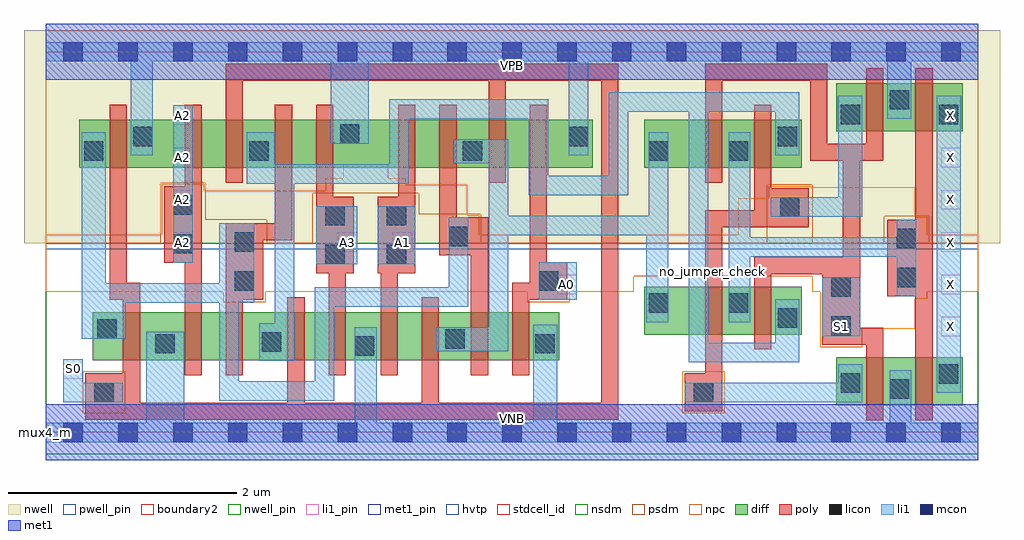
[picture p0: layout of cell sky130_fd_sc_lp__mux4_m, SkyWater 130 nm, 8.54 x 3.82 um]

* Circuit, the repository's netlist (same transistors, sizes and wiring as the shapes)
* Copyright 2020 The SkyWater PDK Authors
*
* Licensed under the Apache License, Version 2.0 (the "License");
* you may not use this file except in compliance with the License.
* You may obtain a copy of the License at
*
*     https://www.apache.org/licenses/LICENSE-2.0
*
* Unless required by applicable law or agreed to in writing, software
* distributed under the License is distributed on an "AS IS" BASIS,
* WITHOUT WARRANTIES OR CONDITIONS OF ANY KIND, either express or implied.
* See the License for the specific language governing permissions and
* limitations under the License.
*
* SPDX-License-Identifier: Apache-2.0

.SUBCKT sky130_fd_sc_lp__mux4_m A0 A1 A2 A3 S0 S1 VGND VNB VPB VPWR X
*.PININFO A0:I A1:I A2:I A3:I S0:I S1:I VGND:I VNB:I VPB:I VPWR:I X:O
MMNA00 sndNS0ba0 S0b xlowb VNB sky130_fd_pr__nfet_01v8 m=1 w=0.42U l=0.15U mult=1
+ sa=0.265 sb=0.265 sd=0.28 area=0.028 perim=0.76
MMNA01 VGND A0 sndNS0ba0 VNB sky130_fd_pr__nfet_01v8 m=1 w=0.42U l=0.15U mult=1
+ sa=0.265 sb=0.265 sd=0.28 area=0.028 perim=0.76
MMNA10 sndNS0a1 S0 xlowb VNB sky130_fd_pr__nfet_01v8 m=1 w=0.42U l=0.15U mult=1
+ sa=0.265 sb=0.265 sd=0.28 area=0.028 perim=0.76
MMNA11 VGND A1 sndNS0a1 VNB sky130_fd_pr__nfet_01v8 m=1 w=0.42U l=0.15U mult=1
+ sa=0.265 sb=0.265 sd=0.28 area=0.028 perim=0.76
MMNA20 sndNS0ba2 S0b xhib VNB sky130_fd_pr__nfet_01v8 m=1 w=0.42U l=0.15U mult=1
+ sa=0.265 sb=0.265 sd=0.28 area=0.028 perim=0.76
MMNA21 VGND A2 sndNS0ba2 VNB sky130_fd_pr__nfet_01v8 m=1 w=0.42U l=0.15U mult=1
+ sa=0.265 sb=0.265 sd=0.28 area=0.028 perim=0.76
MMNA30 sndNS0a3 S0 xhib VNB sky130_fd_pr__nfet_01v8 m=1 w=0.42U l=0.15U mult=1
+ sa=0.265 sb=0.265 sd=0.28 area=0.028 perim=0.76
MMNA31 VGND A3 sndNS0a3 VNB sky130_fd_pr__nfet_01v8 m=1 w=0.42U l=0.15U mult=1
+ sa=0.265 sb=0.265 sd=0.28 area=0.028 perim=0.76
MMNs1o xb S1b xlowb VNB sky130_fd_pr__nfet_01v8 m=1 w=0.42U l=0.15U mult=1 sa=0.265
+ sb=0.265 sd=0.28 area=0.028 perim=0.76
MMNs2o xb S1 xhib VNB sky130_fd_pr__nfet_01v8 m=1 w=0.42U l=0.15U mult=1 sa=0.265
+ sb=0.265 sd=0.28 area=0.028 perim=0.76
MMIN1 VGND S1 S1b VNB sky130_fd_pr__nfet_01v8 m=1 w=0.42U l=0.15U mult=1 sa=0.265
+ sb=0.265 sd=0.28 area=0.028 perim=0.76
MMIN2 VGND S0 S0b VNB sky130_fd_pr__nfet_01v8 m=1 w=0.42U l=0.15U mult=1 sa=0.265
+ sb=0.265 sd=0.28 area=0.028 perim=0.76
MMIN4 VGND xb X VNB sky130_fd_pr__nfet_01v8 m=1 w=0.42U l=0.15U mult=1 sa=0.265
+ sb=0.265 sd=0.28 area=0.028 perim=0.76
MMPA00 sndPA0a0 A0 VPWR VPB sky130_fd_pr__pfet_01v8_hvt m=1 w=0.42U l=0.15U mult=1
+ sa=0.265 sb=0.265 sd=0.28 area=0.028 perim=0.76
MMPA01 xlowb S0 sndPA0a0 VPB sky130_fd_pr__pfet_01v8_hvt m=1 w=0.42U l=0.15U mult=1
+ sa=0.265 sb=0.265 sd=0.28 area=0.028 perim=0.76
MMPA10 sndPA1a1 A1 VPWR VPB sky130_fd_pr__pfet_01v8_hvt m=1 w=0.42U l=0.15U mult=1
+ sa=0.265 sb=0.265 sd=0.28 area=0.028 perim=0.76
MMPA11 xlowb S0b sndPA1a1 VPB sky130_fd_pr__pfet_01v8_hvt m=1 w=0.42U l=0.15U mult=1
+ sa=0.265 sb=0.265 sd=0.28 area=0.028 perim=0.76
MMPA20 sndPA2a2 A2 VPWR VPB sky130_fd_pr__pfet_01v8_hvt m=1 w=0.42U l=0.15U mult=1
+ sa=0.265 sb=0.265 sd=0.28 area=0.028 perim=0.76
MMPA21 xhib S0 sndPA2a2 VPB sky130_fd_pr__pfet_01v8_hvt m=1 w=0.42U l=0.15U mult=1
+ sa=0.265 sb=0.265 sd=0.28 area=0.028 perim=0.76
MMPA30 sndPA3a3 A3 VPWR VPB sky130_fd_pr__pfet_01v8_hvt m=1 w=0.42U l=0.15U mult=1
+ sa=0.265 sb=0.265 sd=0.28 area=0.028 perim=0.76
MMPA31 xhib S0b sndPA3a3 VPB sky130_fd_pr__pfet_01v8_hvt m=1 w=0.42U l=0.15U mult=1
+ sa=0.265 sb=0.265 sd=0.28 area=0.028 perim=0.76
MMPs1o xb S1 xlowb VPB sky130_fd_pr__pfet_01v8_hvt m=1 w=0.42U l=0.15U mult=1 sa=0.265
+ sb=0.265 sd=0.28 area=0.028 perim=0.76
MMPs2o xb S1b xhib VPB sky130_fd_pr__pfet_01v8_hvt m=1 w=0.42U l=0.15U mult=1 sa=0.265
+ sb=0.265 sd=0.28 area=0.028 perim=0.76
MMIP1 VPWR S1 S1b VPB sky130_fd_pr__pfet_01v8_hvt m=1 w=0.42U l=0.15U mult=1 sa=0.265
+ sb=0.265 sd=0.28 area=0.028 perim=0.76
MMIP2 VPWR S0 S0b VPB sky130_fd_pr__pfet_01v8_hvt m=1 w=0.42U l=0.15U mult=1 sa=0.265
+ sb=0.265 sd=0.28 area=0.028 perim=0.76
MMIP4 VPWR xb X VPB sky130_fd_pr__pfet_01v8_hvt m=1 w=0.42U l=0.15U mult=1 sa=0.265
+ sb=0.265 sd=0.28 area=0.028 perim=0.76
.ENDS sky130_fd_sc_lp__mux4_m

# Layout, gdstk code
import gdstk
lib = gdstk.Library(unit=1e-6, precision=1e-09)
def R(c, l, rs):  # rectangles x0, y0, x1, y1
    for r in rs: c.add(gdstk.rectangle(r[:2], r[2:], *l))
def A(c, l, x, y, w, h, nx, ny, dx, dy):  # array of equal rectangles
    R(c, l, [(x+i*dx, y+j*dy, x+i*dx+w, y+j*dy+h) for i in range(nx) for j in range(ny)])
def P(c, l, *ps):  # polygons
    for p in ps: c.add(gdstk.Polygon(p, *l))
nwell_pin = (64, 16)
nwell = (64, 20)
diff = (65, 20)
poly = (66, 20)
licon = (66, 44)
li1_pin = (67, 16)
li1 = (67, 20)
mcon = (67, 44)
met1_pin = (68, 16)
met1 = (68, 20)
hvtp = (78, 44)
stdcell_id = (81, 4)
nsdm = (93, 44)
psdm = (94, 20)
npc = (95, 20)
pwell_pin = (122, 16)
boundary2 = (236, 0)

sky130_fd_sc_lp__mux4_m = lib.new_cell('sky130_fd_sc_lp__mux4_m')
R(sky130_fd_sc_lp__mux4_m, nwell_pin, [(0,3.085,8.16,3.33)])
R(sky130_fd_sc_lp__mux4_m, nwell, [(-0.19,1.655,8.35,3.52)])
R(sky130_fd_sc_lp__mux4_m, diff, [(6.915,0.235,8.025,0.655), (0.41,0.63,4.495,1.05), (5.235,0.855,6.615,1.275), (0.295,2.315,4.785,2.735), (5.235,2.315,6.615,2.735), (6.915,2.635,8.025,3.055)])
P(sky130_fd_sc_lp__mux4_m, poly, [(1.365,2.865),(1.215,2.865),(1.215,2.155),(1.035,2.155),(1.035,1.485),(1.215,1.485),(1.215,0.5),(1.365,0.5)],
  [(2.155,2.865),(2.005,2.865),(2.005,1.83),(1.575,1.83),(1.575,0.5),(1.725,0.5),(1.725,1.16),(1.905,1.16),(1.905,1.68),(2.155,1.68)],
  [(2.695,2.06),(2.515,2.06),(2.515,2.865),(2.365,2.865),(2.365,1.39),(2.475,1.39),(2.475,0.5),(2.625,0.5),(2.625,1.39),(2.695,1.39)],
  [(3.235,2.865),(3.085,2.865),(3.085,2.06),(2.905,2.06),(2.905,1.39),(2.93,1.39),(2.93,0.5),(3.08,0.5),(3.08,1.39),(3.235,1.39)],
  [(3.87,1.88),(3.595,1.88),(3.595,2.865),(3.445,2.865),(3.445,1.55),(3.72,1.55),(3.72,0.5),(3.87,0.5)],
  [(4.565,1.49),(4.385,1.49),(4.385,2.865),(4.235,2.865),(4.235,1.31),(4.08,1.31),(4.08,0.5),(4.23,0.5),(4.23,1.16),(4.565,1.16)],
  [(5.01,3.225),(1.575,3.225),(1.575,2.185),(1.725,2.185),(1.725,3.075),(3.875,3.075),(3.875,2.185),(4.025,2.185),(4.025,3.075),(4.86,3.075),(4.86,0.26),(3.44,0.26),(3.44,1.18),(3.29,1.18),(3.29,0.26),(2.265,0.26),(2.265,1.18),(2.115,1.18),(2.115,0.26),(0.825,0.26),(0.825,1.31),(0.71,1.31),(0.71,2.865),(0.56,2.865),(0.56,1.16),(0.675,1.16),(0.675,0.515),(0.345,0.515),(0.345,0.11),(5.01,0.11)],
  [(6.675,2.135),(6.35,2.135),(6.35,2.865),(6.2,2.865),(6.2,1.945),(5.77,1.945),(5.77,0.515),(5.59,0.515),(5.59,0.185),(5.92,0.185),(5.92,1.795),(6.675,1.795)],
  [(7.33,0.915),(7.125,0.915),(7.125,2.375),(7.33,2.375),(7.33,3.185),(7.18,3.185),(7.18,2.525),(6.84,2.525),(6.84,3.225),(5.77,3.225),(5.77,2.185),(5.92,2.185),(5.92,3.075),(6.69,3.075),(6.69,2.375),(6.975,2.375),(6.975,1.535),(6.2,1.535),(6.2,0.725),(6.35,0.725),(6.35,1.385),(6.795,1.385),(6.795,0.765),(7.18,0.765),(7.18,0.105),(7.33,0.105)],
  [(7.76,3.185),(7.61,3.185),(7.61,1.86),(7.365,1.86),(7.365,1.19),(7.61,1.19),(7.61,0.105),(7.76,0.105)])
R(sky130_fd_sc_lp__mux4_m, licon, [(0.425,0.265,0.595,0.435), (5.67,0.265,5.84,0.435), (7.385,0.295,7.555,0.465), (6.955,0.345,7.125,0.515), (7.815,0.425,7.985,0.595), (2.705,0.67,2.875,0.84), (0.96,0.69,1.13,0.86), (4.285,0.69,4.455,0.86), (1.89,0.705,2.06,0.875), (3.495,0.73,3.665,0.9), (0.45,0.82,0.62,0.99), (6.875,0.845,7.045,1.015), (6.405,0.915,6.575,1.085), (5.275,1.045,5.445,1.215), (5.975,1.045,6.145,1.215), (6.875,1.185,7.045,1.355), (1.655,1.24,1.825,1.41), (4.315,1.24,4.485,1.41), (7.445,1.27,7.615,1.44), (2.445,1.47,2.615,1.64), (2.985,1.47,3.155,1.64), (1.115,1.565,1.285,1.735), (1.655,1.58,1.825,1.75), (7.445,1.61,7.615,1.78), (3.525,1.63,3.695,1.8), (2.445,1.81,2.615,1.98), (2.985,1.81,3.155,1.98), (6.425,1.885,6.595,2.055), (1.115,1.905,1.285,2.075), (0.335,2.375,0.505,2.545), (1.78,2.375,1.95,2.545), (3.65,2.375,3.82,2.545), (5.275,2.375,5.445,2.545), (5.975,2.375,6.145,2.545), (0.765,2.505,0.935,2.675), (4.575,2.505,4.745,2.675), (6.405,2.505,6.575,2.675), (2.575,2.525,2.745,2.695), (6.955,2.695,7.125,2.865), (7.815,2.695,7.985,2.865), (7.385,2.825,7.555,2.995)])
A(sky130_fd_sc_lp__mux4_m, li1_pin, 7.835, 0.84, 0.17, 0.17, 1, 6, 0, 0.37)
A(sky130_fd_sc_lp__mux4_m, li1_pin, 1.115, 1.58, 0.17, 0.17, 1, 4, 0, 0.37)
R(sky130_fd_sc_lp__mux4_m, li1_pin, [(0.155,0.47,0.325,0.64), (6.875,0.84,7.045,1.01), (4.475,1.21,4.645,1.38), (2.555,1.58,2.725,1.75), (3.035,1.58,3.205,1.75)])
R(sky130_fd_sc_lp__mux4_m, li1, [(7.795,0.345,8.005,2.945), (6.795,0.84,7.125,1.355), (4.315,1.16,4.645,1.49), (2.365,1.47,2.725,1.98), (2.905,1.47,3.235,1.98), (1.115,1.485,1.285,2.86)])
P(sky130_fd_sc_lp__mux4_m, li1, [(2.495,2.525),(2.495,3.245),(0.935,3.245),(0.935,2.425),(0.745,2.425),(0.745,3.245),(0,3.245),(0,3.415),(8.16,3.415),(8.16,3.245),(7.575,3.245),(7.575,2.745),(7.365,2.745),(7.365,3.245),(4.745,3.245),(4.745,2.425),(4.575,2.425),(4.575,3.245),(2.825,3.245),(2.825,2.525)],
  [(2.705,0.085),(2.705,0.92),(2.895,0.92),(2.895,0.085),(4.265,0.085),(4.265,0.94),(4.475,0.94),(4.475,0.085),(7.385,0.085),(7.385,0.545),(7.575,0.545),(7.575,0.085),(8.16,0.085),(8.16,-0.085),(0,-0.085),(0,0.085),(0.88,0.085),(0.88,0.88),(1.21,0.88),(1.21,0.085)],
  [(0.325,0.435),(0.675,0.435),(0.675,0.265),(0.155,0.265),(0.155,0.64),(0.325,0.64)],
  [(2.355,1.27),(3.525,1.27),(3.525,1.88),(3.695,1.88),(3.695,1.1),(2.525,1.1),(2.525,0.275),(1.52,0.275),(1.52,1.135),(0.7,1.135),(0.7,0.82),(0.315,0.82),(0.315,2.625),(0.525,2.625),(0.525,1.305),(1.52,1.305),(1.52,1.83),(1.825,1.83),(1.825,1.135),(1.69,1.135),(1.69,0.445),(2.355,0.445)],
  [(6.935,2.055),(6.935,2.945),(7.145,2.945),(7.145,1.885),(6.345,1.885),(6.345,2.055)],
  [(6.385,2.805),(5.795,2.805),(5.795,0.785),(6.385,0.785),(6.385,1.165),(6.595,1.165),(6.595,0.615),(5.625,0.615),(5.625,2.805),(5.095,2.805),(5.095,2.075),(4.225,2.075),(4.225,2.745),(3.175,2.745),(3.175,2.175),(2.175,2.175),(2.175,0.625),(1.87,0.625),(1.87,0.955),(2.005,0.955),(2.005,2.175),(1.76,2.175),(1.76,2.625),(2.005,2.625),(2.005,2.345),(3.005,2.345),(3.005,2.915),(4.395,2.915),(4.395,2.245),(4.925,2.245),(4.925,2.975),(6.595,2.975),(6.595,2.425),(6.385,2.425)],
  [(5.975,0.965),(5.975,2.625),(6.165,2.625),(6.165,1.705),(7.445,1.705),(7.445,1.86),(7.615,1.86),(7.615,1.19),(7.445,1.19),(7.445,1.535),(6.165,1.535),(6.165,0.965)],
  [(5.275,1.895),(5.275,2.625),(5.445,2.625),(5.445,0.965),(5.255,0.965),(5.255,1.725),(4.045,1.725),(4.045,0.71),(3.415,0.71),(3.415,0.92),(3.875,0.92),(3.875,2.355),(3.57,2.355),(3.57,2.565),(4.045,2.565),(4.045,1.895)],
  [(5.59,0.265),(5.59,0.435),(6.935,0.435),(6.935,0.595),(7.145,0.595),(7.145,0.265)])
A(sky130_fd_sc_lp__mux4_m, mcon, 0.155, -0.085, 0.17, 0.17, 17, 2, 0.48, 3.33)
R(sky130_fd_sc_lp__mux4_m, met1_pin, [(0,0,8.16,0.245), (0,3.085,8.16,3.33)])
R(sky130_fd_sc_lp__mux4_m, met1, [(0,-0.245,8.16,0.245), (0,3.085,8.16,3.575)])
R(sky130_fd_sc_lp__mux4_m, hvtp, [(0,1.6,8.16,3.33)])
R(sky130_fd_sc_lp__mux4_m, stdcell_id, [(0,0,8.16,3.33)])
R(sky130_fd_sc_lp__mux4_m, nsdm, [(0,-0.19,8.16,1.655)])
P(sky130_fd_sc_lp__mux4_m, psdm, [(8.16,3.52),(0,3.52),(0,1.655),(1.005,1.655),(1.005,2.185),(1.395,2.185),(1.395,1.86),(1.935,1.86),(1.935,1.655),(2.335,1.655),(2.335,2.09),(3.265,2.09),(3.265,1.91),(3.805,1.91),(3.805,1.655),(6.315,1.655),(6.315,2.165),(6.705,2.165),(6.705,1.655),(7.335,1.655),(7.335,1.89),(7.725,1.89),(7.725,1.655),(8.16,1.655)])
R(sky130_fd_sc_lp__mux4_m, npc, [(0.325,0.165,0.695,0.535), (5.57,0.165,5.94,0.535)])
P(sky130_fd_sc_lp__mux4_m, npc, [(8.16,1.73),(7.715,1.73),(7.715,1.88),(7.61,1.88),(7.61,2.145),(6.695,2.145),(6.695,2.155),(6.325,2.155),(6.325,2.05),(6.06,2.05),(6.06,1.73),(3.795,1.73),(3.795,1.9),(3.69,1.9),(3.69,2.165),(3.15,2.165),(3.15,2.225),(2.995,2.225),(2.995,2.345),(2.605,2.345),(2.605,2.225),(2.45,2.225),(2.45,2.115),(1.385,2.115),(1.385,2.175),(1.015,2.175),(1.015,1.73),(0,1.73),(0,1.23),(1.555,1.23),(1.555,1.14),(1.925,1.14),(1.925,1.23),(4.215,1.23),(4.215,1.14),(4.585,1.14),(4.585,1.23),(5.145,1.23),(5.145,1.365),(6.705,1.365),(6.705,1.23),(6.775,1.23),(6.775,0.745),(7.145,0.745),(7.145,0.905),(7.61,0.905),(7.61,1.17),(7.715,1.17),(7.715,1.23),(8.16,1.23)])
R(sky130_fd_sc_lp__mux4_m, pwell_pin, [(0,0,8.16,0.245)])
R(sky130_fd_sc_lp__mux4_m, boundary2, [(0,0,8.16,3.33)])
sky130_fd_sc_lp__mux4_m.add(gdstk.Label('VNB', (4.08,0.123), layer=64, texttype=59))
sky130_fd_sc_lp__mux4_m.add(gdstk.Label('VPB', (4.08,3.208), layer=64, texttype=5))
sky130_fd_sc_lp__mux4_m.add(gdstk.Label('mux4_m', (0,0), layer=83, texttype=44))
sky130_fd_sc_lp__mux4_m.add(gdstk.Label('no_jumper_check', (5.835,1.405), layer=83, texttype=44))
sky130_fd_sc_lp__mux4_m.add(gdstk.Label('VPWR', (4.08,3.208), layer=68, texttype=5))
sky130_fd_sc_lp__mux4_m.add(gdstk.Label('VGND', (4.08,0.123), layer=68, texttype=5))
sky130_fd_sc_lp__mux4_m.add(gdstk.Label('A0', (4.56,1.295), layer=67, texttype=5))
sky130_fd_sc_lp__mux4_m.add(gdstk.Label('S0', (0.24,0.555), layer=67, texttype=5))
sky130_fd_sc_lp__mux4_m.add(gdstk.Label('A1', (3.12,1.665), layer=67, texttype=5))
sky130_fd_sc_lp__mux4_m.add(gdstk.Label('A2', (1.2,1.665), layer=67, texttype=5))
sky130_fd_sc_lp__mux4_m.add(gdstk.Label('A2', (1.2,2.035), layer=67, texttype=5))
sky130_fd_sc_lp__mux4_m.add(gdstk.Label('A2', (1.2,2.405), layer=67, texttype=5))
sky130_fd_sc_lp__mux4_m.add(gdstk.Label('A2', (1.2,2.775), layer=67, texttype=5))
sky130_fd_sc_lp__mux4_m.add(gdstk.Label('A3', (2.64,1.665), layer=67, texttype=5))
sky130_fd_sc_lp__mux4_m.add(gdstk.Label('S1', (6.96,0.925), layer=67, texttype=5))
sky130_fd_sc_lp__mux4_m.add(gdstk.Label('X', (7.92,0.925), layer=67, texttype=5))
sky130_fd_sc_lp__mux4_m.add(gdstk.Label('X', (7.92,1.295), layer=67, texttype=5))
sky130_fd_sc_lp__mux4_m.add(gdstk.Label('X', (7.92,1.665), layer=67, texttype=5))
sky130_fd_sc_lp__mux4_m.add(gdstk.Label('X', (7.92,2.035), layer=67, texttype=5))
sky130_fd_sc_lp__mux4_m.add(gdstk.Label('X', (7.92,2.405), layer=67, texttype=5))
sky130_fd_sc_lp__mux4_m.add(gdstk.Label('X', (7.92,2.775), layer=67, texttype=5))

lib.write_gds('sky130_fd_sc_lp__mux4_m.gds')
